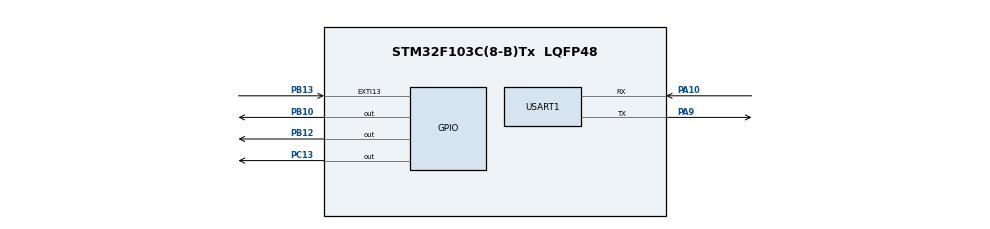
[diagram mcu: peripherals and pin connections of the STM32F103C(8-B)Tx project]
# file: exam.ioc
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Mcu.Family=STM32F1
Mcu.Name=STM32F103C(8-B)Tx
Mcu.Package=LQFP48
NVIC.EXTI15_10_IRQn=true\:2\:0\:true\:false\:true\:true\:true\:true
NVIC.PriorityGroup=NVIC_PRIORITYGROUP_4
NVIC.USART1_IRQn=true\:0\:0\:false\:false\:true\:true\:true\:true
PA10.Mode=Asynchronous
PA10.Signal=USART1_RX
PA13.Mode=Serial_Wire
PA13.Signal=SYS_JTMS-SWDIO
PA14.Mode=Serial_Wire
PA14.Signal=SYS_JTCK-SWCLK
PA9.Mode=Asynchronous
PA9.Signal=USART1_TX
PB10.Signal=GPIO_Output
PB12.PinState=GPIO_PIN_SET
PB12.Signal=GPIO_Output
PB13.GPIO_ModeDefaultEXTI=GPIO_MODE_IT_FALLING
PB13.GPIO_PuPd=GPIO_PULLUP
PB13.Signal=GPXTI13
PC13-TAMPER-RTC.GPIO_ModeDefaultOutputPP=GPIO_MODE_OUTPUT_OD
PC13-TAMPER-RTC.GPIO_PuPd=GPIO_PULLUP
PC13-TAMPER-RTC.PinState=GPIO_PIN_SET
PC13-TAMPER-RTC.Signal=GPIO_Output
ProjectManager.HeapSize=0x200
ProjectManager.StackSize=0x400
ProjectManager.TargetToolchain=CMake
RCC.APB1Freq_Value=8000000
RCC.APB2Freq_Value=8000000
USART1.VirtualMode=VM_ASYNC
board=custom

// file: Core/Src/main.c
/* USER CODE BEGIN Header */
/**
  ******************************************************************************
  * @file           : main.c
  * @brief          : Main program body
  ******************************************************************************
  * @attention
  *
  * Copyright (c) 2025 STMicroelectronics.
  * All rights reserved.
  *
  * This software is licensed under terms that can be found in the LICENSE file
  * in the root directory of this software component.
  * If no LICENSE file comes with this software, it is provided AS-IS.
  *
  ******************************************************************************
  */
/* USER CODE END Header */
#include "main.h"
#include "stm32f103xb.h"
#include "stm32f1xx_hal.h"
#include "stm32f1xx_hal_gpio.h"
#include "usart.h"
#include "gpio.h"

/* USER CODE BEGIN PV */
uint8_t redata[3];
uint32_t delay = 0;
/* USER CODE END PV */

void SystemClock_Config(void);

int main(void)
{

  /* MCU Configuration--------------------------------------------------------*/

  /* Reset of all peripherals, Initializes the Flash interface and the Systick. */
  HAL_Init();

  /* Configure the system clock */
  SystemClock_Config();

  /* Initialize all configured peripherals */
  MX_GPIO_Init();
  MX_USART1_UART_Init();

  /* Infinite loop */
  /* USER CODE BEGIN WHILE */
  while (1)
  {
    if(delay != 0){
      HAL_GPIO_WritePin(GPIOB, GPIO_PIN_12, GPIO_PIN_SET);
      HAL_Delay(delay);
      HAL_GPIO_WritePin(GPIOB, GPIO_PIN_12, GPIO_PIN_RESET);
      HAL_Delay(delay);
    }
    if(HAL_GPIO_ReadPin(GPIOB, GPIO_PIN_13) == GPIO_PIN_RESET){
      HAL_Delay(20);
      if(HAL_GPIO_ReadPin(GPIOB, GPIO_PIN_13) == GPIO_PIN_RESET){
        if (delay == 1000){
          delay = 0;
          HAL_GPIO_WritePin(GPIOB, GPIO_PIN_12, GPIO_PIN_SET);
        }else{
          delay += 500;
      }
    }
    }

    // HAL_GPIO_WritePin(GPIOC, GPIO_PIN_13, GPIO_PIN_RESET);
    // HAL_Delay(500);
    // HAL_GPIO_WritePin(GPIOC, GPIO_PIN_13, GPIO_PIN_SET);
    // HAL_Delay(500);
    HAL_UART_Receive_IT(&huart1, redata, 3);
    HAL_UART_Transmit_IT(&huart1, redata, 3);

    /* USER CODE END WHILE */

  }
}

void SystemClock_Config(void)
{
  RCC_OscInitTypeDef RCC_OscInitStruct = {0};
  RCC_ClkInitTypeDef RCC_ClkInitStruct = {0};

  /** Initializes the RCC Oscillators according to the specified parameters
  * in the RCC_OscInitTypeDef structure.
  */
  RCC_OscInitStruct.OscillatorType = RCC_OSCILLATORTYPE_HSI;
  RCC_OscInitStruct.HSIState = RCC_HSI_ON;
  RCC_OscInitStruct.HSICalibrationValue = RCC_HSICALIBRATION_DEFAULT;
  RCC_OscInitStruct.PLL.PLLState = RCC_PLL_NONE;
  if (HAL_RCC_OscConfig(&RCC_OscInitStruct) != HAL_OK)
  {
    Error_Handler();
  }

  /** Initializes the CPU, AHB and APB buses clocks
  */
  RCC_ClkInitStruct.ClockType = RCC_CLOCKTYPE_HCLK|RCC_CLOCKTYPE_SYSCLK
                              |RCC_CLOCKTYPE_PCLK1|RCC_CLOCKTYPE_PCLK2;
  RCC_ClkInitStruct.SYSCLKSource = RCC_SYSCLKSOURCE_HSI;
  RCC_ClkInitStruct.AHBCLKDivider = RCC_SYSCLK_DIV1;
  RCC_ClkInitStruct.APB1CLKDivider = RCC_HCLK_DIV1;
  RCC_ClkInitStruct.APB2CLKDivider = RCC_HCLK_DIV1;

  if (HAL_RCC_ClockConfig(&RCC_ClkInitStruct, FLASH_LATENCY_0) != HAL_OK)
  {
    Error_Handler();
  }
}

/* USER CODE BEGIN 4 */
/*void HAL_GPIO_EXTI_Callback(uint16_t GPIO_Pin){

    //HAL_GPIO_TogglePin(GPIOB, GPIO_PIN_12);

}*/
/* USER CODE END 4 */

void Error_Handler(void)
{
  __disable_irq();
  while (1)
  {
  }
}
